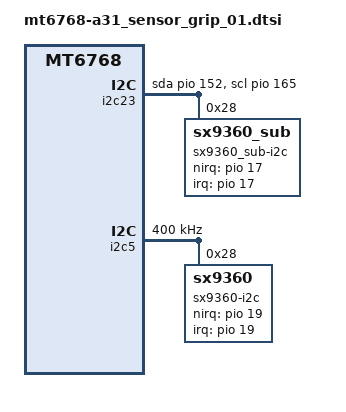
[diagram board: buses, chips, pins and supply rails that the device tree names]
/*
 * SAMSUNG board device tree source
 *
 * Copyright (c) 2019 Samsung Electronics Co., Ltd.
 *		http://www.samsung.com
 *
 * This program is free software; you can redistribute it and/or modify
 * it under the terms of the GNU General Public License version 2 as
 * published by the Free Software Foundation.
 */

/* MAIN GRIP */
&i2c5 {
	status = "okay";
	clock-frequency = <400000>;
	#address-cells = <1>;
	#size-cells = <0>;
	pinctrl-names = "default";
	pinctrl-0 = <&grip_ldo_en>;
	mediatek,use-open-drain;

	sx9360-i2c@28 {
		compatible = "sx9360";
		reg = <0x28>;
		status = "okay";
		pinctrl-names = "default";
		pinctrl-0 = <&grip_int>;
		interrupt-parent = <&pio>;
		interrupts = <19 0>;
		sx9360,nirq-gpio = <&pio 19 0>;

		#sx9360,vdd_en = <&pio 43 0>;
		sx9360,reggnrlctrl2_reg = <0x19>; /* scanperiod: 51ms */
		sx9360,refresolution_reg = <0x0F>; /* same as resolution_reg */
		sx9360,refagainfreq_reg = <0x36>; /* same as againfreq_reg */
		sx9360,resolution_reg = <0x0F>; /* resolution : 1024 */
		sx9360,againfreq_reg = <0x11>; /* 0x25 - freq : 200 kHz, again : +/-2.25 pF */
		sx9360,refgainrawfilt_reg = <0x22>; /* reference phase gain: x8, rawfilt : 1-1/4 */
		sx9360,gainrawfilt_reg = <0x0A>; /* rawfilter : 1-1/4, gain : x1 */
		sx9360,regproxctrl3_reg = <0x0A>; /* 0x44 - avgposfilt: 1/64, avgnegfilt: 1/2 */
		sx9360,hyst_reg = <0x15>; /* hysteresis : +/-6 %, debouncer : 2 samples */
		sx9360,proxthresh_reg = <0x14>; /* 0x46 - threshhold : 200 */
		sx9360,hallic_detect = <0>;
		sx9360,hallic_cert_detect = <0>;
	};
};

/ {
	fragment@model {
		target-path = "/";
		__overlay__ {
			aliases {
				i2c23 = "/i2c@23";
			};

			i2c23: i2c@23 { /* SUB GRIP */	
				cell-index = <23>;
				status = "okay";
				compatible = "i2c-gpio";
				gpios = <&pio 152 0 /* sda */
					&pio 165 0>; /* scl */
				i2c-gpio,delay-us = <2>;
				#address-cells = <1>;
				#size-cells = <0>;
				pinctrl-names = "default";
				pinctrl-0 = <&grip_sub_i2c>;

				sx9360_sub-i2c@28 {
					compatible = "sx9360_sub";
					reg = <0x28>;
					status = "okay";

					pinctrl-names = "default";
					pinctrl-0 = <&grip_sub_int>;
					interrupt-parent = <&pio>;
					interrupts = <17 0>;
					sx9360_sub,nirq-gpio = <&pio 17 0>;

					sx9360,refresolution_reg = <0x0F>; /* same as resolution_reg */
					sx9360,refagainfreq_reg = <0x36>; /* same as againfreq_reg */
					sx9360,resolution_reg = <0x0F>; /* resolution : 1024 */
					sx9360,againfreq_reg = <0x15>; /* 0x25 - freq : 125 kHz, again : +/-2.25 pF */
					sx9360,refgainrawfilt_reg = <0x22>; /* same as gainrawfilt_reg */
					sx9360,gainrawfilt_reg = <0x12>; /* 0x41 - rawfilter : 1-1/4, gain : x1 */
					sx9360,hyst_reg = <0x15>; /* hysteresis : +/-6 %, debouncer : 2 samples */
					sx9360,proxthresh_reg = <0x1F>; /* 0X46 - threshhold : 612 */
					sx9360_sub,hallic_detect = <0>;
					sx9360_sub,hallic_cert_detect = <0>;
				};
			};
		};
	};
};

&pio {
	grip_ldo_en: grip-ldo-en {
		pins_cmd_dat {
			pinmux = <PINMUX_GPIO43__FUNC_GPIO43>;
			slew-rate = <1>;
			output-high;
		};
	};

	grip_int: grip-int {
		pins_cmd_dat {
			pinmux = <PINMUX_GPIO19__FUNC_GPIO19>;
			slew-rate = <0>;
			bias-disable;
		};
	};
	
	grip_sub_int: grip-sub-int {
		pins_cmd_dat {
			pinmux = <PINMUX_GPIO17__FUNC_GPIO17>;
			slew-rate = <0>;
			bias-disable;
		};
	};

	grip_sub_i2c: grip-sub-i2c {
		pins_cmd0_dat {
			pinmux = <PINMUX_GPIO152__FUNC_GPIO152>; /*grip sensor sda pin*/
			slew-rate = <0>;
			bias-disable;
		};
		pins_cmd1_dat {
			pinmux = <PINMUX_GPIO165__FUNC_GPIO165>; /*grip sensor scl pin*/
			slew-rate = <0>;
			bias-disable;
		};
	};	
};
